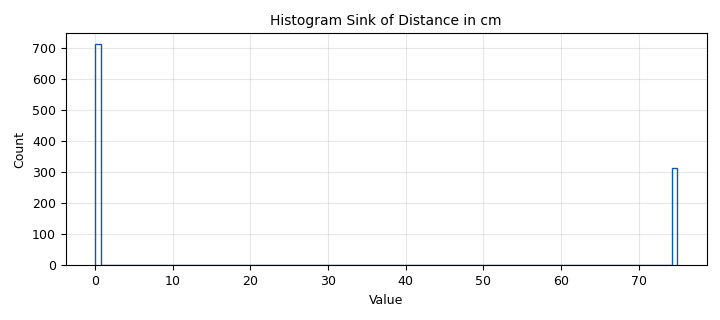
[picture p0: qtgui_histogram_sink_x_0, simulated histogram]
options:
  parameters:
    generate_options: qt_gui
    id: Demo
    output_language: python
    title: Demo
  states: {}

blocks:
- name: delay
  id: variable_qtgui_range
  parameters:
    gui_hint: 0,0
    label: delay
    orient: Qt.Horizontal
    start: '0'
    step: '1'
    stop: '1000'
    value: '0'
  states: {}
- name: samp_rate
  id: variable
  parameters:
    value: '200000'
  states: {}
- name: analog_sig_source_x_0
  id: analog_sig_source_x
  parameters:
    amp: '1'
    freq: '2000'
    offset: '0'
    phase: '0'
    samp_rate: samp_rate
    type: complex
    waveform: analog.GR_COS_WAVE
  states: {}
- name: analog_sig_source_x_0_0_0
  id: analog_sig_source_x
  parameters:
    amp: '1'
    freq: 2.5e9
    offset: '0'
    phase: '0'
    samp_rate: samp_rate
    type: complex
    waveform: analog.GR_COS_WAVE
  states: {}
- name: analog_sig_source_x_0_0_0_0
  id: analog_sig_source_x
  parameters:
    amp: '1'
    freq: 2.45e9
    offset: '0'
    phase: '0'
    samp_rate: samp_rate
    type: complex
    waveform: analog.GR_COS_WAVE
  states: {}
- name: blocks_add_xx_0
  id: blocks_add_xx
  parameters:
    type: float
  states: {}
- name: blocks_complex_to_float_0
  id: blocks_complex_to_float
  parameters: {}
  states: {}
- name: blocks_complex_to_float_1
  id: blocks_complex_to_float
  parameters: {}
  states: {}
- name: blocks_delay_0
  id: blocks_delay
  parameters:
    delay: delay
    type: complex
  states: {}
- name: blocks_delay_0_1
  id: blocks_delay
  parameters:
    delay: delay
    type: complex
  states: {}
- name: blocks_divide_xx_0
  id: blocks_divide_xx
  parameters:
    type: float
  states: {}
- name: blocks_multiply_conjugate_cc_0
  id: blocks_multiply_conjugate_cc
  parameters: {}
  states: {}
- name: blocks_multiply_conjugate_cc_0_1
  id: blocks_multiply_conjugate_cc
  parameters: {}
  states: {}
- name: blocks_multiply_xx_0
  id: blocks_multiply_xx
  parameters:
    type: complex
  states: {}
- name: blocks_multiply_xx_0_0
  id: blocks_multiply_xx
  parameters:
    type: complex
  states: {}
- name: blocks_multiply_xx_1
  id: blocks_multiply_xx
  parameters:
    type: float
  states: {}
- name: blocks_multiply_xx_2
  id: blocks_multiply_xx
  parameters:
    type: float
  states: {}
- name: blocks_multiply_xx_3
  id: blocks_multiply_xx
  parameters:
    type: float
  states: {}
- name: blocks_multiply_xx_4
  id: blocks_multiply_xx
  parameters:
    type: float
  states: {}
- name: blocks_sub_xx_0
  id: blocks_sub_xx
  parameters:
    type: float
  states: {}
- name: epy_block_0
  id: epy_block
  parameters:
    _source_code: |-
      """
      Embedded Python Blocks:

      Each time this file is saved, GRC will instantiate the first class it finds
      to get ports and parameters of your block. The arguments to __init__  will
      be the parameters. All of them are required to have default values!
      """

      import numpy as np
      from gnuradio import gr


      class blk(gr.sync_block):  # other base classes are basic_block, decim_block, interp_block
          """Embedded Python Block example - a simple multiply const"""

          def __init__(self, example_param=1.0):  # only default arguments here
              """arguments to this function show up as parameters in GRC"""
              gr.sync_block.__init__(
                  self,
                  name='Phase Calculation Block',   # will show up in GRC
                  in_sig=[np.float32],
                  out_sig=[np.float32]
              )
              # if an attribute with the same name as a parameter is found,
              # a callback is registered (properties work, too).
              self.example_param = example_param

          def work(self, input_items, output_items):
              output_items[0][:] = np.arctan(input_items[0])
              return len(output_items[0])
    example_param: '1.0'
  states: {}
- name: epy_block_1
  id: epy_block
  parameters:
    _source_code: |
      """
      Embedded Python Blocks:

      Each time this file is saved, GRC will instantiate the first class it finds
      to get ports and parameters of your block. The arguments to __init__  will
      be the parameters. All of them are required to have default values!
      """

      import numpy as np
      from gnuradio import gr
      import math as m

      class blk(gr.sync_block):  # other base classes are basic_block, decim_block, interp_block
          """Embedded Python Block example - a simple multiply const"""

          def __init__(self, example_param=1.0):  # only default arguments here
              """arguments to this function show up as parameters in GRC"""
              gr.sync_block.__init__(
                  self,
                  name='Distance Calculation Block',   # will show up in GRC
                  in_sig=[np.float32],
                  out_sig=[np.float32]
              )
              # if an attribute with the same name as a parameter is found,
              # a callback is registered (properties work, too).
              self.example_param = example_param

          def work(self, input_items, output_items):
              """example: multiply with constant"""
              for i in range(len(input_items[0])):
                  if input_items[0][i]<0:
                      output_items[0][i] = input_items[0][i]+ (m.pi/2)
                  else:
                      output_items[0][i] = input_items[0][i]
              output_items[0][:] = output_items[0] * 23.87324146*2
              
              return len(output_items[0])
    example_param: '1.0'
  states: {}
- name: qtgui_histogram_sink_x_0
  id: qtgui_histogram_sink_x
  parameters:
    bins: '100'
    gui_hint: 1,2
    name: Histogram Sink of Distance in cm
    size: '1024'
    type: float
    xmax: '75'
    xmin: '0'
  states: {}
- name: qtgui_number_sink_0
  id: qtgui_number_sink
  parameters:
    autoscale: 'True'
    graph_type: qtgui.NUM_GRAPH_HORIZ
    gui_hint: 1,0
    name: Phase Diffrenece in radians
    type: float
  states: {}
- name: qtgui_number_sink_0_0_1_0
  id: qtgui_number_sink
  parameters:
    autoscale: 'True'
    graph_type: qtgui.NUM_GRAPH_HORIZ
    gui_hint: 1,1
    name: Distance in cm
    type: float
  states: {}

connections:
- [analog_sig_source_x_0, '0', blocks_multiply_xx_0, '0']
- [analog_sig_source_x_0, '0', blocks_multiply_xx_0_0, '0']
- [analog_sig_source_x_0_0_0, '0', blocks_multiply_conjugate_cc_0, '1']
- [analog_sig_source_x_0_0_0, '0', blocks_multiply_xx_0, '1']
- [analog_sig_source_x_0_0_0_0, '0', blocks_multiply_conjugate_cc_0_1, '1']
- [analog_sig_source_x_0_0_0_0, '0', blocks_multiply_xx_0_0, '1']
- [blocks_add_xx_0, '0', blocks_divide_xx_0, '1']
- [blocks_complex_to_float_0, '0', blocks_multiply_xx_1, '0']
- [blocks_complex_to_float_0, '0', blocks_multiply_xx_2, '0']
- [blocks_complex_to_float_0, '1', blocks_multiply_xx_3, '1']
- [blocks_complex_to_float_0, '1', blocks_multiply_xx_4, '0']
- [blocks_complex_to_float_1, '0', blocks_multiply_xx_1, '1']
- [blocks_complex_to_float_1, '0', blocks_multiply_xx_3, '0']
- [blocks_complex_to_float_1, '1', blocks_multiply_xx_2, '1']
- [blocks_complex_to_float_1, '1', blocks_multiply_xx_4, '1']
- [blocks_delay_0, '0', blocks_multiply_conjugate_cc_0, '0']
- [blocks_delay_0_1, '0', blocks_multiply_conjugate_cc_0_1, '0']
- [blocks_divide_xx_0, '0', epy_block_0, '0']
- [blocks_multiply_conjugate_cc_0, '0', blocks_complex_to_float_0, '0']
- [blocks_multiply_conjugate_cc_0_1, '0', blocks_complex_to_float_1, '0']
- [blocks_multiply_xx_0, '0', blocks_delay_0, '0']
- [blocks_multiply_xx_0_0, '0', blocks_delay_0_1, '0']
- [blocks_multiply_xx_1, '0', blocks_add_xx_0, '0']
- [blocks_multiply_xx_2, '0', blocks_sub_xx_0, '1']
- [blocks_multiply_xx_3, '0', blocks_sub_xx_0, '0']
- [blocks_multiply_xx_4, '0', blocks_add_xx_0, '1']
- [blocks_sub_xx_0, '0', blocks_divide_xx_0, '0']
- [epy_block_0, '0', epy_block_1, '0']
- [epy_block_0, '0', qtgui_number_sink_0, '0']
- [epy_block_1, '0', qtgui_histogram_sink_x_0, '0']
- [epy_block_1, '0', qtgui_number_sink_0_0_1_0, '0']

metadata:
  file_format: 1
